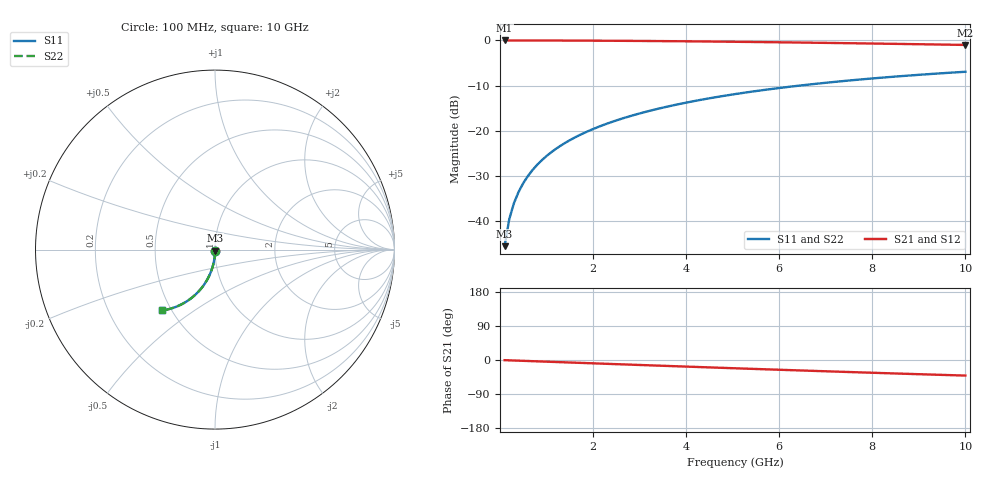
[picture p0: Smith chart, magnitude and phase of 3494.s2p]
# Hz S RI R 50.00
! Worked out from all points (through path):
!   100 points, 100 MHz to 10 GHz, reference 50 ohm
!   highest |S21| = 0.00 dB at 100 MHz (marker M1); lowest = -1.0 dB at 10 GHz (marker M2)
!   group delay of S21, straight-line fit = 11.5 ps
!   lowest |S11| = -45.6 dB at 100 MHz (marker M3), VSWR 1.01, Z = 50 - j0.526 ohm
!   |S11| at or under -10 dB: start of sweep to 6.438 GHz
!   |S22| runs from -45.6 to -6.9 dB; largest |S21 - S12| = 0
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1e8  0.000434 -0.00526  0.9995 -0.00768  0.9995 -0.00768  0.000434 -0.00526
2e8  0.00031 -0.0105  0.9993 -0.0154  0.9993 -0.0154  0.00031 -0.0105
3e8  0.000104 -0.0158  0.9991 -0.023  0.9991 -0.023  0.000104 -0.0158
4e8  -0.000182 -0.021  0.9988 -0.0307  0.9988 -0.0307  -0.000182 -0.021
5e8  -0.00055 -0.0263  0.9984 -0.0384  0.9984 -0.0384  -0.00055 -0.0263
6e8  -0.000998 -0.0315  0.9979 -0.046  0.9979 -0.046  -0.000998 -0.0315
7e8  -0.00153 -0.0367  0.9973 -0.0537  0.9973 -0.0537  -0.00153 -0.0367
8e8  -0.00214 -0.042  0.9967 -0.0613  0.9967 -0.0613  -0.00214 -0.042
9e8  -0.00282 -0.0472  0.9959 -0.0689  0.9959 -0.0689  -0.00282 -0.0472
1.1e9  -0.00444 -0.0575  0.9942 -0.0841  0.9942 -0.0841  -0.00444 -0.0575
1.4e9  -0.00745 -0.073  0.991 -0.1069  0.991 -0.1069  -0.00745 -0.073
1.8e9  -0.0126 -0.0933  0.9855 -0.1369  0.9855 -0.1369  -0.0126 -0.0933
2.1e9  -0.0172 -0.1083  0.9805 -0.1591  0.9805 -0.1591  -0.0172 -0.1083
2.5e9  -0.0244 -0.1278  0.9728 -0.1884  0.9728 -0.1884  -0.0244 -0.1278
2.9e9  -0.0327 -0.1468  0.9638 -0.2171  0.9638 -0.2171  -0.0327 -0.1468
3.4e9  -0.0446 -0.1696  0.9509 -0.2521  0.9509 -0.2521  -0.0446 -0.1696
4.2e9  -0.0669 -0.2038  0.9268 -0.3058  0.9268 -0.3058  -0.0669 -0.2038
5.1e9  -0.0962 -0.2382  0.895 -0.3623  0.895 -0.3623  -0.0962 -0.2382
5.9e9  -0.1252 -0.2648  0.8633 -0.4087  0.8633 -0.4087  -0.1252 -0.2648
6.7e9  -0.1564 -0.2876  0.829 -0.4513  0.829 -0.4513  -0.1564 -0.2876
8.4e9  -0.2272 -0.3225  0.7501 -0.5289  0.7501 -0.5289  -0.2272 -0.3225
1e10  -0.2958 -0.3391  0.672 -0.5863  0.672 -0.5863  -0.2958 -0.3391
